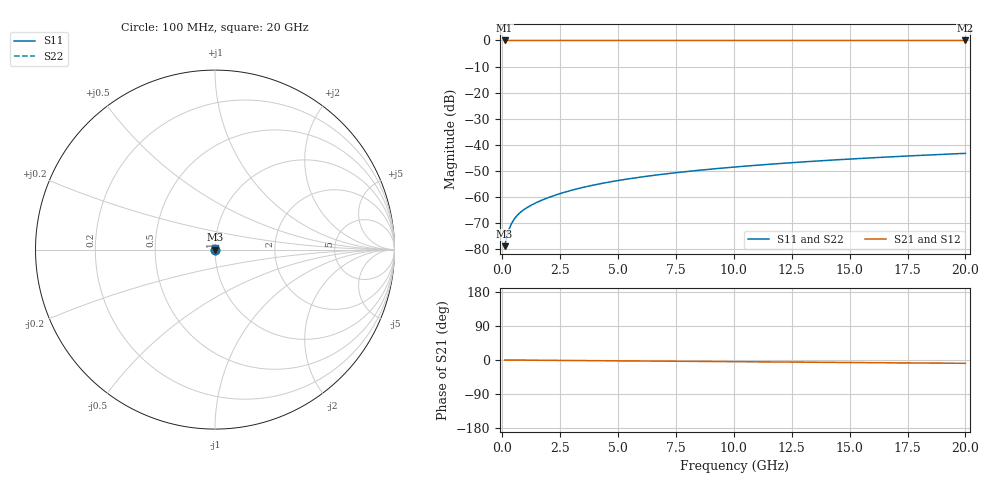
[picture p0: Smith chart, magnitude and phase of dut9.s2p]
! Touchstone file exported from HFSS 2026.1.0
!  File:  C:/ffzhzh/LocalFiles/Ansys_Project_Files/temp_val_TSV_9_1782974876_6388.aedt
!  Generated:  02:49:14 PM Jul  2, 2026
!  Design:  TSV
!  Project:  temp_val_TSV_9_1782974876_6388
! Variables:
!  h_bsmrdl = 2um
!  h_ox = 20um
!  h_rdl = 5um
!  h_sub = 86.13um
!  h_tmrdl = 5um
!  h_tsv = 86.13um
!  h_via = 3um
!  l_bsmrdl = 300um
!  l_sub = 426.86um
!  l_tmrdl = 200um
!  m_sub = 200um
!  pitch = 56.23um
!  r_tsv = 13.43um
!  s_tmrdl = 10um
!  w_bsmrdl = 18um
!  w_sub = 500um
!  w_tmrdl = 12um
!  x_tsv_center1 = 206um
!  x_tsv_center2 = 524um
!  x_tsv_center3 = 736um
!  x_tsv_center4 = 1054um
!  x_tsv_center5 = 1266um
!  x_tsv_center6 = 1584um
# GHz S MA R 50.000000
! Terminal data exported
! Port[1] = TSV1_1_T1
! Port[2] = TSV1_1_T2
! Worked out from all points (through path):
!   200 points, 100 MHz to 20 GHz, reference 50 ohm
!   highest |S21| = 0.00 dB at 100 MHz (marker M1); lowest = 0.0 dB at 20 GHz (marker M2)
!   group delay of S21, straight-line fit = 1.22 ps
!   lowest |S11| = -78.7 dB at 100 MHz (marker M3), VSWR 1.00, Z = 50 + j0.00772 ohm
!   |S11| at or under -10 dB: start of sweep to end of sweep
!   |S22| runs from -78.7 to -43.2 dB; largest |S21 - S12| = 2.9e-15
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0.1  0.0001155 41.9  0.9999 -0.0  0.9999 -0.0  0.0001155 41.9
! Gamma 0 0 0 0
! Port Impedance 50 0 50 0
0.2  0.0001808 56.5  0.9999 -0.1  0.9999 -0.1  0.0001808 56.5
0.3  0.0002489 61.2  0.9999 -0.1  0.9999 -0.1  0.0002489 61.2
0.4  0.0003131 62.7  0.9999 -0.2  0.9999 -0.2  0.0003131 62.7
0.5  0.000372 63.2  0.9998 -0.2  0.9998 -0.2  0.000372 63.2
0.6  0.0004257 63.3  0.9998 -0.3  0.9998 -0.3  0.0004257 63.3
0.7  0.0004751 63.4  0.9998 -0.3  0.9998 -0.3  0.0004751 63.4
0.9  0.0005642 63.7  0.9998 -0.4  0.9998 -0.4  0.0005642 63.7
1.1  0.0006456 64.3  0.9997 -0.5  0.9997 -0.5  0.0006456 64.3
1.3  0.0007232 65.1  0.9997 -0.6  0.9997 -0.6  0.0007232 65.1
1.6  0.0008367 66.4  0.9997 -0.7  0.9997 -0.7  0.0008367 66.4
1.9  0.0009493 67.6  0.9996 -0.8  0.9996 -0.8  0.0009493 67.6
2.6  0.001211 69.8  0.9996 -1.2  0.9996 -1.2  0.001211 69.8
3.5  0.001545 71.4  0.9995 -1.6  0.9995 -1.6  0.001545 71.4
4.2  0.0018 72.2  0.9995 -1.9  0.9995 -1.9  0.0018 72.2
5  0.002086 72.7  0.9995 -2.2  0.9995 -2.2  0.002086 72.7
6.8  0.002707 73.4  0.9994 -3.0  0.9994 -3.0  0.002707 73.4
8.3  0.00321 73.7  0.9993 -3.7  0.9993 -3.7  0.00321 73.7
10.1  0.003803 73.8  0.9992 -4.4  0.9992 -4.4  0.003803 73.8
13.4  0.004867 73.6  0.9991 -5.9  0.9991 -5.9  0.004867 73.6
16.7  0.005902 73.0  0.999 -7.3  0.999 -7.3  0.005902 73.0
20  0.006902 72.1  0.9989 -8.8  0.9989 -8.8  0.006903 72.1
